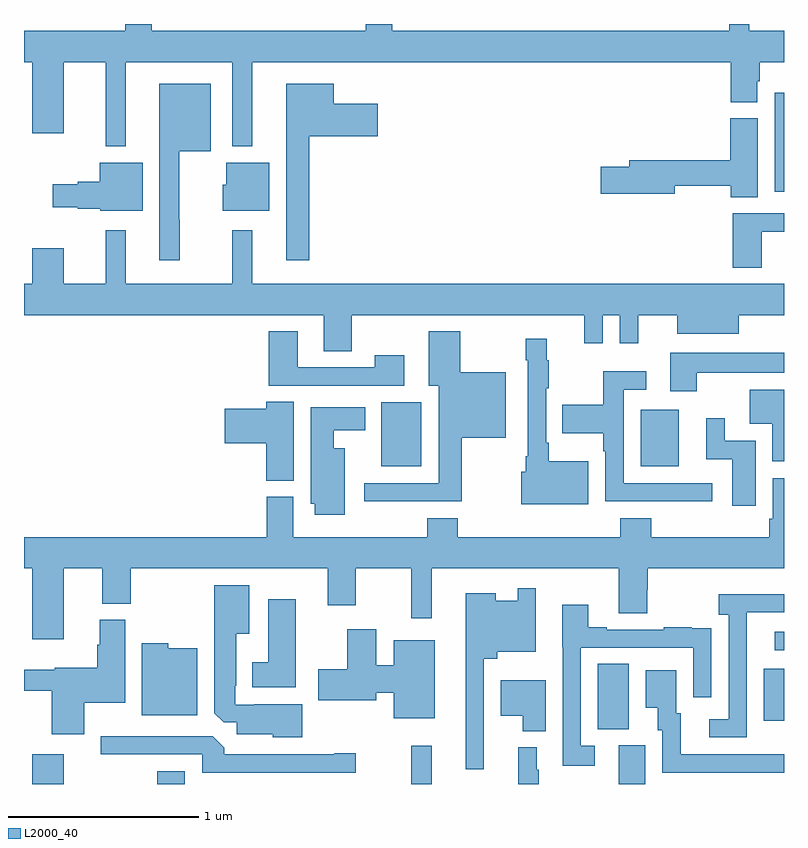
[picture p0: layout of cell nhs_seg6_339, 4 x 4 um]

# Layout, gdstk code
import gdstk
lib = gdstk.Library(unit=1e-6, precision=1e-09)
def R(c, l, rs):  # rectangles x0, y0, x1, y1
    for r in rs: c.add(gdstk.rectangle(r[:2], r[2:], *l))
def P(c, l, *ps):  # polygons
    for p in ps: c.add(gdstk.Polygon(p, *l))
L2000_40 = (2000, 40)

nhs_seg6_339 = lib.new_cell('nhs_seg6_339')
R(nhs_seg6_339, L2000_40, [(129.044,979.5,129.208,979.657), (129.7,979.5,129.847,979.567), (131.037,979.5,131.147,979.702), (132.131,979.5,132.271,979.704), (132.02,979.789,132.184,980.132), (132.893,979.833,133,980.107), (132.951,980.205,133,980.301), (130.88,981.173,131.092,981.508), (132.245,981.173,132.445,981.469), (132.95,982.616,133,983.137)])
P(nhs_seg6_339, L2000_40, [(129.535,983.3),(130.097,983.3),(130.097,982.856),(130.201,982.856),(130.201,983.3),(132.719,983.3),(132.719,983.089),(132.859,983.089),(132.859,983.199),(132.872,983.199),(132.872,983.3),(133,983.3),(133,983.464),(132.817,983.464),(132.817,983.5),(132.713,983.5),(132.713,983.464),(130.939,983.464),(130.939,983.5),(130.799,983.5),(130.799,983.464),(129.673,983.464),(129.673,983.5),(129.533,983.5),(129.533,983.464),(129,983.464),(129,983.3),(129.044,983.3),(129.044,982.926),(129.208,982.926),(129.208,983.3),(129.431,983.3),(129.431,982.856),(129.535,982.856)],
  [(129.82,982.469),(129.817,982.469),(129.817,982.829),(129.982,982.829),(129.982,983.185),(129.713,983.185),(129.713,982.257),(129.82,982.257)],
  [(130.501,982.91),(130.861,982.91),(130.861,983.08),(130.63,983.08),(130.63,983.185),(130.379,983.185),(130.379,982.257),(130.501,982.257)],
  [(132.862,983.004),(132.716,983.004),(132.716,982.784),(132.185,982.784),(132.185,982.748),(132.036,982.748),(132.036,982.606),(132.424,982.606),(132.424,982.648),(132.721,982.648),(132.721,982.588),(132.862,982.588)],
  [(130.291,982.771),(130.064,982.771),(130.064,982.653),(130.046,982.653),(130.046,982.517),(130.291,982.517)],
  [(129.625,982.771),(129.398,982.771),(129.398,982.67),(129.282,982.67),(129.282,982.657),(129.15,982.657),(129.15,982.535),(129.282,982.535),(129.282,982.528),(129.402,982.528),(129.402,982.517),(129.625,982.517)],
  [(132.883,982.407),(133,982.407),(133,982.503),(132.731,982.503),(132.731,982.218),(132.883,982.218)],
  [(130.725,981.968),(131.948,981.968),(131.948,981.819),(132.045,981.819),(132.045,981.968),(132.135,981.968),(132.135,981.819),(132.233,981.819),(132.233,981.968),(132.437,981.968),(132.437,981.869),(132.763,981.869),(132.763,981.968),(133,981.968),(133,982.132),(130.201,982.132),(130.201,982.414),(130.095,982.414),(130.095,982.132),(129.535,982.132),(129.535,982.414),(129.431,982.414),(129.431,982.132),(129.208,982.132),(129.208,982.321),(129.044,982.321),(129.044,982.132),(129,982.132),(129,981.968),(130.577,981.968),(130.577,981.778),(130.725,981.778)],
  [(131.002,981.757),(130.846,981.757),(130.846,981.693),(130.441,981.693),(130.441,981.883),(130.289,981.883),(130.289,981.597),(131.002,981.597)],
  [(131.304,981.323),(131.536,981.323),(131.536,981.667),(131.296,981.667),(131.296,981.883),(131.129,981.883),(131.129,981.596),(131.183,981.596),(131.183,981.084),(130.791,981.084),(130.791,980.987),(131.304,980.987)],
  [(131.971,981.199),(131.761,981.199),(131.761,981.295),(131.748,981.295),(131.748,981.583),(131.761,981.583),(131.761,981.731),(131.75,981.731),(131.75,981.844),(131.64,981.844),(131.64,981.731),(131.652,981.731),(131.652,981.226),(131.64,981.226),(131.64,981.143),(131.618,981.143),(131.618,980.972),(131.971,980.972)],
  [(132.541,981.665),(133,981.665),(133,981.769),(132.401,981.769),(132.401,981.567),(132.541,981.567)],
  [(132.622,981.084),(132.156,981.084),(132.156,981.576),(132.274,981.576),(132.274,981.673),(132.048,981.673),(132.048,981.495),(131.833,981.495),(131.833,981.347),(132.048,981.347),(132.048,981.251),(132.06,981.251),(132.06,980.988),(132.385,980.988),(132.385,980.987),(132.622,980.987)],
  [(133,981.574),(132.821,981.574),(132.821,981.395),(132.938,981.395),(132.938,981.198),(133,981.198)],
  [(130.42,981.512),(130.274,981.512),(130.274,981.476),(130.056,981.476),(130.056,981.293),(130.274,981.293),(130.274,981.097),(130.42,981.097)],
  [(130.687,981.268),(130.63,981.268),(130.63,981.362),(130.795,981.362),(130.795,981.484),(130.508,981.484),(130.508,980.976),(130.529,980.976),(130.529,980.916),(130.687,980.916)],
  [(132.85,981.306),(132.688,981.306),(132.688,981.424),(132.59,981.424),(132.59,981.21),(132.728,981.21),(132.728,980.964),(132.85,980.964)],
  [(129.208,980.636),(129.413,980.636),(129.413,980.449),(129.561,980.449),(129.561,980.636),(130.598,980.636),(130.598,980.442),(130.746,980.442),(130.746,980.636),(131.037,980.636),(131.037,980.373),(131.146,980.373),(131.146,980.636),(132.131,980.636),(132.131,980.398),(132.279,980.398),(132.279,980.523),(132.284,980.523),(132.284,980.636),(133,980.636),(133,981.109),(132.942,981.109),(132.942,980.896),(132.922,980.896),(132.922,980.8),(132.302,980.8),(132.302,980.899),(132.137,980.899),(132.137,980.8),(131.282,980.8),(131.282,980.899),(131.122,980.899),(131.122,980.8),(130.417,980.8),(130.417,981.012),(130.277,981.012),(130.277,980.8),(129,980.8),(129,980.636),(129.044,980.636),(129.044,980.262),(129.208,980.262)],
  [(130.465,979.921),(130.213,979.921),(130.213,979.917),(130.113,979.917),(130.113,980.017),(130.117,980.017),(130.117,980.291),(130.186,980.291),(130.186,980.545),(130.001,980.545),(130.001,979.873),(130.05,979.824),(130.121,979.824),(130.121,979.763),(130.308,979.763),(130.308,979.745),(130.465,979.745)],
  [(131.421,980.159),(131.49,980.159),(131.49,980.195),(131.694,980.195),(131.694,980.53),(131.598,980.53),(131.598,980.464),(131.482,980.464),(131.482,980.503),(131.324,980.503),(131.324,979.578),(131.421,979.578)],
  [(132.804,980.203),(132.805,980.203),(132.805,980.403),(133,980.403),(133,980.5),(132.657,980.5),(132.657,980.39),(132.708,980.39),(132.708,979.842),(132.606,979.842),(132.606,979.746),(132.804,979.746)],
  [(130.429,980.473),(130.286,980.473),(130.286,980.14),(130.202,980.14),(130.202,980.009),(130.429,980.009)],
  [(132.004,979.701),(131.931,979.701),(131.931,980.217),(132.522,980.217),(132.522,979.956),(132.618,979.956),(132.618,980.21),(132.617,980.21),(132.617,980.319),(132.515,980.319),(132.515,980.326),(132.367,980.326),(132.367,980.313),(132.067,980.313),(132.067,980.326),(131.971,980.326),(131.971,980.443),(131.834,980.443),(131.834,980.22),(131.835,980.22),(131.835,979.596),(132.004,979.596)],
  [(129.316,979.928),(129.532,979.928),(129.532,980.364),(129.398,980.364),(129.398,980.234),(129.386,980.234),(129.386,980.113),(129.162,980.113),(129.162,980.101),(129,980.101),(129,979.992),(129.146,979.992),(129.146,979.761),(129.316,979.761)],
  [(131.161,980.257),(130.946,980.257),(130.946,980.126),(130.855,980.126),(130.855,980.314),(130.7,980.314),(130.7,980.103),(130.548,980.103),(130.548,979.94),(130.855,979.94),(130.855,979.979),(130.946,979.979),(130.946,979.847),(131.161,979.847)],
  [(129.913,980.215),(129.759,980.215),(129.759,980.242),(129.62,980.242),(129.62,979.862),(129.913,979.862)],
  [(133,979.657),(132.941,979.657),(132.941,979.656),(132.457,979.656),(132.457,979.872),(132.433,979.872),(132.433,980.098),(132.272,980.098),(132.272,979.901),(132.335,979.901),(132.335,979.782),(132.36,979.782),(132.36,979.56),(133,979.56)],
  [(131.746,980.047),(131.51,980.047),(131.51,979.859),(131.624,979.859),(131.624,979.778),(131.746,979.778)],
  [(130.747,979.661),(130.634,979.661),(130.634,979.656),(130.055,979.656),(130.055,979.69),(129.993,979.752),(129.405,979.752),(129.405,979.656),(129.939,979.656),(129.939,979.56),(130.747,979.56)],
  [(131.71,979.575),(131.698,979.575),(131.698,979.693),(131.6,979.693),(131.6,979.5),(131.71,979.5)])

lib.write_gds('nhs_seg6_339.gds')
